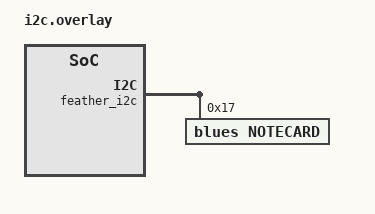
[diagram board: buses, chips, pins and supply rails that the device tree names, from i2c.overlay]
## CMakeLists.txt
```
# Copyright 2022 Blues Inc.  All rights reserved.
# Use of this source code is governed by licenses granted by the
# copyright holder including that found in the LICENSE file.

# SPDX-License-Identifier: MIT

# Set CMake policy behavior
cmake_minimum_required(VERSION 3.20.0)

# Load Zephyr Package
find_package(Zephyr REQUIRED HINTS $ENV{ZEPHYR_BASE})

# Basic Project Configuration
project(note-zephyr
    VERSION 1.0.0
    LANGUAGES C ASM
)
set(CMAKE_C_STANDARD 11)
set(CMAKE_C_STANDARD_REQUIRED ON)
set(CMAKE_C_EXTENSIONS ON)  # required for inline asm

# Create variables to alias path names
set(NOTE_C ${CMAKE_CURRENT_LIST_DIR}/../../note-c)
set(SRC ${CMAKE_CURRENT_LIST_DIR}/src)

# Set global compile settings
zephyr_get_compile_options_for_lang_as_string(C zephyr_options)
message(STATUS ${zephyr_options})
message(STATUS) # Insert blank line for readability
zephyr_compile_options(
    -ggdb
    -Og
    -Wall
    # -Wextra
    -Wno-unused-parameter
    # -Wpedantic
)
zephyr_get_compile_options_for_lang_as_string(C zephyr_options)
message(STATUS ${zephyr_options})
message(STATUS) # Insert blank line for readability

# Zephyr Example Application
target_sources(app
    PRIVATE ${SRC}/main.c
    PRIVATE ${SRC}/note_c_hooks.c
)

# Build additional 3rd party libs (e.g. `note-c`) with `app`
target_sources(app
    PRIVATE ${NOTE_C}/n_atof.c
    PRIVATE ${NOTE_C}/n_b64.c
    PRIVATE ${NOTE_C}/n_cjson.c
    PRIVATE ${NOTE_C}/n_cjson_helpers.c
    PRIVATE ${NOTE_C}/n_const.c
    PRIVATE ${NOTE_C}/n_ftoa.c
    PRIVATE ${NOTE_C}/n_helpers.c
    PRIVATE ${NOTE_C}/n_hooks.c
    PRIVATE ${NOTE_C}/n_i2c.c
    PRIVATE ${NOTE_C}/n_md5.c
    PRIVATE ${NOTE_C}/n_printf.c
    PRIVATE ${NOTE_C}/n_request.c
    PRIVATE ${NOTE_C}/n_serial.c
    PRIVATE ${NOTE_C}/n_str.c
    PRIVATE ${NOTE_C}/n_ua.c
)

target_include_directories(app
    PRIVATE ${NOTE_C}
)

# WARNING: These options are overriden by `zephyr_compile_options()`
target_compile_options(app
    PRIVATE -ggdb
    PRIVATE -Og
    PRIVATE -Wall
    PRIVATE -Wextra
    # PRIVATE -Wpedantic
    PRIVATE -Wimplicit-fallthrough=2
    PRIVATE -Wunused-parameter
)
```

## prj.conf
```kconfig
# Provides access to onboard LED
CONFIG_GPIO=y

# Notecard Communication Channel
CONFIG_I2C=y

# Required by `note-c`
CONFIG_NEWLIB_LIBC=y

# Debugging Configuration
CONFIG_PRINTK=y

# Core Notecard libraries
CONFIG_BLUES_NOTECARD=y

CONFIG_ASSERT=y
```

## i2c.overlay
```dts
/**
 * Copyright (c) 2024 Croxel Inc.
 *
 * MIT License. Use of this source code is governed by licenses granted
 * by the copyright holder including that found in the LICENSE file.
 */

&feather_i2c {
	status = "okay";

	notecard@17 {
		compatible = "blues,notecard";
		reg = <0x17>;
		status = "okay";
	};
};
```

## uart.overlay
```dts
/**
 * Copyright (c) 2024 Croxel Inc.
 *
 * MIT License. Use of this source code is governed by licenses granted
 * by the copyright holder including that found in the LICENSE file.
 */

 /** Note: Not physically connected to the feather. Requires the following:
  * - Set DFU switch to OFF, to isolate AUX_TX/RX from F_RX/TX, respectively.
  * - Wire the following lines:
  *     - N_TX : F_RX.
  *     - N_RX : F_TX.
  */
&feather_serial {
	status = "okay";
	current-speed = <9600>;

	notecard {
		compatible = "blues,notecard";
		status = "okay";
	};
};
```

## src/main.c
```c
/*
 * Copyright (c) 2023 Blues Inc.
 *
 * MIT License. Use of this source code is governed by licenses granted
 * by the copyright holder including that found in the LICENSE file.
 *
 * Author: Zachary J. Fields
 */

// Include Zephyr Headers
#include <zephyr/drivers/gpio.h>
#include <zephyr/kernel.h>

// Include Notecard note-c library
#include <note.h>

// Uncomment the define below and replace com.your-company:your-product-name
// with your ProductUID.
// #define PRODUCT_UID "com.your-company:your-product-name"

#ifndef PRODUCT_UID
#define PRODUCT_UID ""
#pragma message "PRODUCT_UID is not defined in this example. Please ensure your Notecard has a product identifier set before running this example or define it in code here. More details at https://bit.ly/product-uid"
#endif

// 10000 msec = 10 sec
#define SLEEP_TIME_MS 10000

// The devicetree node identifier for the "led0" alias.
#define LED0_NODE DT_ALIAS(led0)

#if DT_NODE_HAS_STATUS(LED0_NODE, okay)

static const struct gpio_dt_spec led = GPIO_DT_SPEC_GET(LED0_NODE, gpios);

#else

// A build error on this line means your board is unsupported.
// See the sample documentation for information on how to fix this.
#error "Unsupported board: led0 devicetree alias is not defined"

#endif

int main(void)
{
    int ret;

    printk("[INFO] main(): Initializing...\n");

    // Initialize note-c hooks
    NoteSetUserAgent((char *)"note-zephyr");

    // Send a Notecard hub.set using note-c
    J *req = NoteNewRequest("hub.set");
    if (req)
    {
        JAddStringToObject(req, "product", PRODUCT_UID);
        JAddStringToObject(req, "mode", "continuous");
        JAddStringToObject(req, "sn", "zephyr-blink");
        if (!NoteRequest(req))
        {
            printk("Failed to configure Notecard.\n");
            return -1;
        }
    }
    else
    {
        printk("Failed to allocate memory.\n");
        return -1;
    }

    if (!gpio_is_ready_dt(&led))
    {
        printk("Failed to activate LED.\n");
        return -1;
    }

    ret = gpio_pin_configure_dt(&led, GPIO_OUTPUT_ACTIVE);
    if (ret < 0)
    {
        printk("Failed to configure LED.\n");
        return ret;
    }

    // Application Loop
    printk("[INFO] main(): Entering loop...\n");
    while (1)
    {
        // Toggle LED state
        ret = gpio_pin_toggle_dt(&led);
        if (ret < 0)
        {
            printk("Failed to toggle LED.\n");
            break;
        }

        // Report LED state to Notehub.io
        J *req = NoteNewRequest("note.add");
        if (req)
        {
            JAddBoolToObject(req, "sync", true);
            J *body = JAddObjectToObject(req, "body");
            JAddBoolToObject(body, "LED", gpio_pin_get(led.port, led.pin));
            if (!NoteRequest(req))
            {
                printk("Failed to submit Note to Notecard.\n");
                ret = -1;
                break;
            }
        }
        else
        {
            printk("Failed to allocate memory.\n");
            ret = -1;
            break;
        }

        // Wait to iterate
        k_msleep(SLEEP_TIME_MS);
    }

    return ret;
}
```
